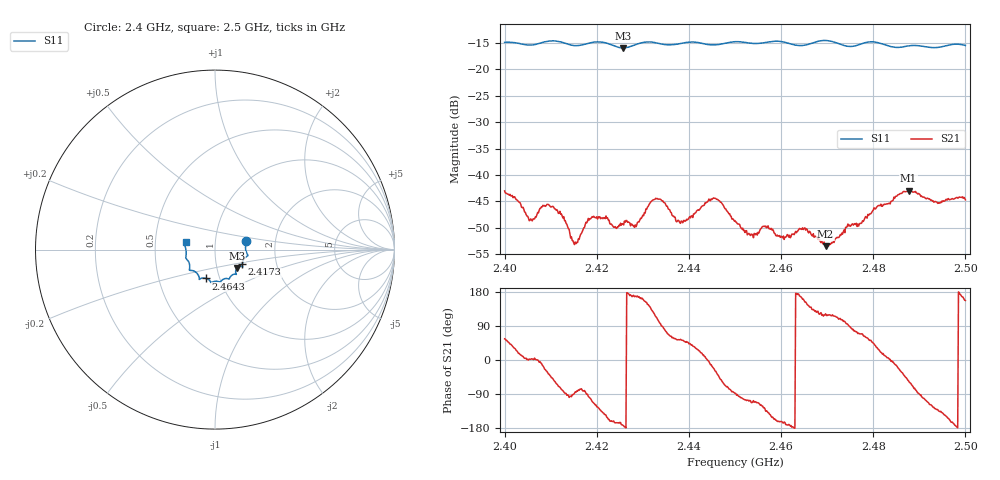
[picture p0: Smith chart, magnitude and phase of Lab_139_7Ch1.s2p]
# Hz S RI R 50
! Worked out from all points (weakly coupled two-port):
!   601 points, 2.4 GHz to 2.5 GHz, reference 50 ohm
!   highest |S21| = -42.95 dB at 2.4877 GHz (marker M1); lowest = -53.5 dB at 2.4697 GHz (marker M2)
!   lowest |S11| = -15.9 dB at 2.4257 GHz (marker M3), VSWR 1.38, Z = 62.5 - j13.1 ohm
!   |S11| at or under -10 dB: start of sweep to end of sweep
!   S12 and S22 are empty: the file has one direction only
!   S11 on the Smith chart (normalised r, x): 2.4 GHz: 1.41, +0.14; 2.4173 GHz: 1.34, -0.23; 2.4643 GHz: 0.86, -0.28; 2.5 GHz: 0.72, +0.06
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2.4e9  0.1736 0.0496  0.00397 0.00585  0 0  0 0
2.4055e9  0.1701 0.00727  0.00372 0.000122  0 0  0 0
2.409667e9  0.183 -0.0317  0.00409 -0.00319  0 0  0 0
2.4125e9  0.1767 -0.0378  0.000765 -0.00403  0 0  0 0
2.415167e9  0.158 -0.0577  8.64e-05 -0.00219  0 0  0 0
2.416667e9  0.1528 -0.075  0.000681 -0.00271  0 0  0 0
2.417333e9  0.1522 -0.0824  0.000525 -0.00313  0 0  0 0
2.4195e9  0.154 -0.0965  -0.00172 -0.00359  0 0  0 0
2.425667e9  0.1227 -0.1026  -0.00342 -0.000473  0 0  0 0
2.428667e9  0.1155 -0.1292  -0.00326 0.000766  0 0  0 0
2.433333e9  0.1126 -0.1365  -0.00149 0.00571  0 0  0 0
2.437667e9  0.0842 -0.1528  0.00221 0.00301  0 0  0 0
2.445333e9  0.0526 -0.1625  0.00562 -0.00231  0 0  0 0
2.45e9  0.0296 -0.1809  0.000142 -0.0037  0 0  0 0
2.4535e9  0.0137 -0.1767  -0.00103 -0.00256  0 0  0 0
2.464333e9  -0.0502 -0.1607  -0.00298 0.000715  0 0  0 0
2.466667e9  -0.0764 -0.16  -0.00186 0.00193  0 0  0 0
2.469667e9  -0.0879 -0.1663  -0.00112 0.0018  0 0  0 0
2.483333e9  -0.1409 -0.0895  0.00537 0.000461  0 0  0 0
2.487667e9  -0.1589 -0.0526  0.00406 -0.00585  0 0  0 0
2.494167e9  -0.162 0.000519  -0.00382 -0.00394  0 0  0 0
2.5e9  -0.1635 0.0419  -0.00537 0.00227  0 0  0 0
